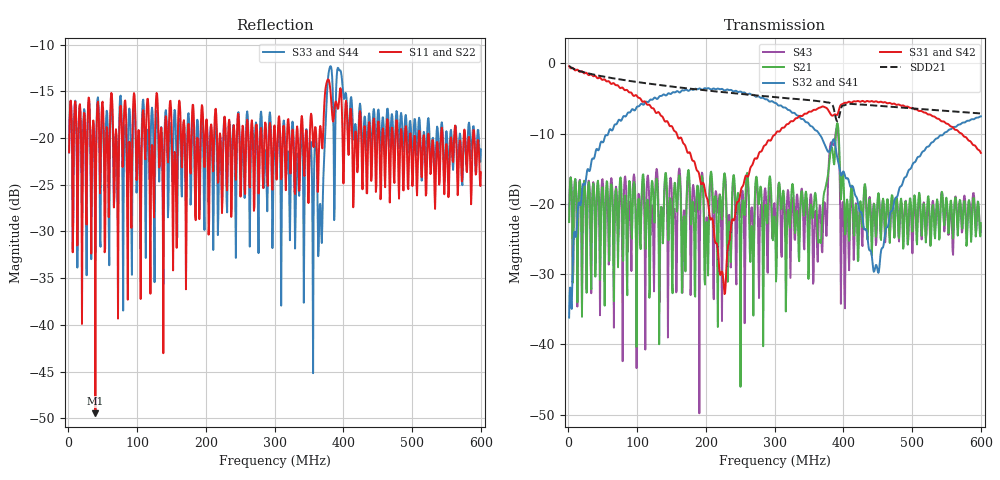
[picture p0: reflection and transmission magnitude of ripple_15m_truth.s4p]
! bare DUT without fixture (ground truth)
! synthetic pair, length 15.0 m
# Hz S RI R 50
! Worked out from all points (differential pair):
!   801 points, 1 MHz to 600 MHz, reference 50 ohm
!   strongest paths, dB at 1 MHz, 150.8 MHz, 300.5 MHz, 450.2 MHz, 600 MHz:
!     S31: -0.4, -9.0, -10.1, -5.5, -12.8
!     S42: -0.4, -9.0, -10.1, -5.5, -12.8
!     S32: -36.2, -4.2, -5.6, -29.7, -7.5
!     S41: -36.2, -4.2, -5.6, -29.7, -7.5
!     S21: -22.6, -31.2, -22.9, -18.8, -22.7
!     S43: -22.6, -19.4, -20.8, -19.1, -23.1
!   taken as a pair (ports 1,2 in; 3,4 out), SDD21 dB: -0.4, -3.3, -4.8, -6.0, -7.1
!   lowest |S11| = -49.5 dB at 39.19 MHz (marker M1), VSWR 1.01, Z = 49.9 - j0.311 ohm
!   |S11| at or under -10 dB: start of sweep to end of sweep
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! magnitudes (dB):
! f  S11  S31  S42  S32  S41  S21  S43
! 1 MHz  -21.5  -0.4  -0.4  -36.2  -36.2  -22.6  -22.6
! 39.19 MHz  -49.5  -1.8  -1.8  -12.7  -12.7  -30.4  -28.6
! 226.4 MHz  -18.2  -32.1  -32.1  -3.8  -3.8  -15.9  -16.4
! 288.5 MHz  -21.6  -11.3  -11.3  -5.1  -5.1  -22.4  -23.4
! 389.6 MHz  -16.1  -7.4  -7.4  -12.6  -12.6  -9.5  -9.4
! 448 MHz  -25.1  -5.4  -5.4  -28.7  -28.7  -24.2  -25.4
! 600 MHz  -23.7  -12.8  -12.8  -7.5  -7.5  -22.7  -23.1
